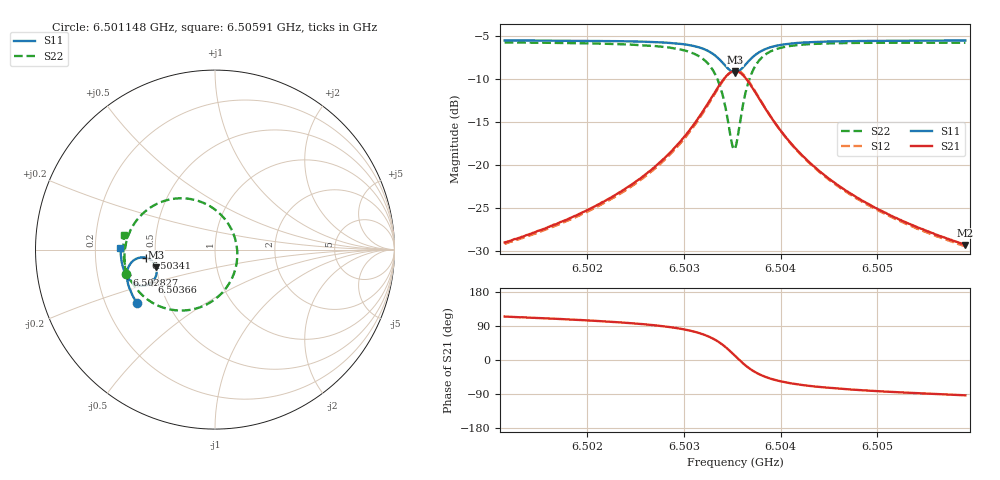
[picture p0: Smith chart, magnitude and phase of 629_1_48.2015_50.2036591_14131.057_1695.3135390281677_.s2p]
#  HZ  S  RI  R  50.00
! Rohde & Schwarz Vector Network Analyzer
! Rohde-Schwarz,ZNB20-2Port,1311601062101988,3.16
! Created: UTC 3/20/2024, 12:04:13 PM
! freq[Hz]  re:S11  im:S11  re:S21  im:S21  re:S12  im:S12  re:S22  im:S22
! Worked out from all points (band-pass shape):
!   401 points, 6.501148 GHz to 6.50591 GHz, reference 50 ohm
!   highest |S21| = -9.12 dB at 6.503529 GHz (marker M1); lowest = -29.3 dB at 6.50591 GHz (marker M2)
!   |S21| within 3 dB of the highest: 6.503291 GHz to 6.503768 GHz (476.2 kHz wide, 0.00732 % of centre)
!   lowest |S11| = -9.3 dB at 6.503529 GHz (marker M3), VSWR 2.04, Z = 24.9 - j5.61 ohm
!   |S11| at or under -10 dB: nowhere
!   |S22| runs from -18.2 to -5.8 dB; largest |S21 - S12| = 0.013
!   S11 on the Smith chart (normalised r, x): 6.501148 GHz: 0.34, -0.28; 6.502827 GHz: 0.33, -0.13; 6.50341 GHz: 0.44, -0.05; 6.50366 GHz: 0.45, -0.19; 6.50591 GHz: 0.31, +0.01
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6.5011485e9  -0.4356 -0.2963  -0.0148 0.0321  -0.0129 0.0322  -0.4946 -0.1378
6.501946e9  -0.4686 -0.2357  -0.0139 0.0508  -0.0113 0.0504  -0.5048 -0.0497
6.5023864e9  -0.4831 -0.1951  -0.0105 0.0712  -0.00738 0.07  -0.4997 0.0161
6.5027435e9  -0.4906 -0.1538  -0.000477 0.1021  0.00307 0.0996  -0.4778 0.0923
6.5028268e9  -0.491 -0.1421  0.00425 0.1128  0.00821 0.1099  -0.4669 0.1154
6.5030292e9  -0.4861 -0.1081  0.0277 0.1484  0.0315 0.1439  -0.4182 0.185
6.503172e9  -0.4712 -0.0781  0.0664 0.1826  0.0693 0.1767  -0.3431 0.2447
6.5033149e9  -0.4319 -0.0483  0.1507 0.212  0.1516 0.2056  -0.1897 0.2859
6.5034101e9  -0.3837 -0.046  0.2448 0.1947  0.2452 0.1899  -0.0265 0.241
6.5034934e9  -0.3396 -0.0765  0.3254 0.1174  0.3284 0.113  0.1025 0.0888
6.5035291e9  -0.3283 -0.0995  0.3435 0.0671  0.3477 0.0613  0.1239 -0.00608
6.5035529e9  -0.3251 -0.1165  0.347 0.0311  0.3516 0.0241  0.1214 -0.0716
6.5035887e9  -0.3275 -0.1414  0.3391 -0.0206  0.3433 -0.03  0.0928 -0.1638
6.5036601e9  -0.3506 -0.1801  0.2906 -0.0993  0.291 -0.1116  -0.0215 -0.2914
6.5037553e9  -0.3928 -0.2003  0.2096 -0.1438  0.2048 -0.1547  -0.1866 -0.3396
6.5038267e9  -0.4197 -0.2004  0.1605 -0.1491  0.1536 -0.1574  -0.2785 -0.3266
6.50391e9  -0.4435 -0.193  0.1188 -0.1427  0.1114 -0.1488  -0.3519 -0.2943
6.5040767e9  -0.4732 -0.1717  0.0693 -0.121  0.0627 -0.1238  -0.4321 -0.2249
6.5043267e9  -0.496 -0.1405  0.0356 -0.0932  0.0304 -0.094  -0.4812 -0.1455
6.5046957e9  -0.5122 -0.1006  0.0153 -0.0679  0.0118 -0.0676  -0.5048 -0.067
6.5051242e9  -0.5212 -0.06  0.00544 -0.0509  0.00303 -0.0503  -0.5112 -0.00321
6.5059098e9  -0.5265 0.00736  -0.00192 -0.0341  -0.00338 -0.0335  -0.5043 0.0831
